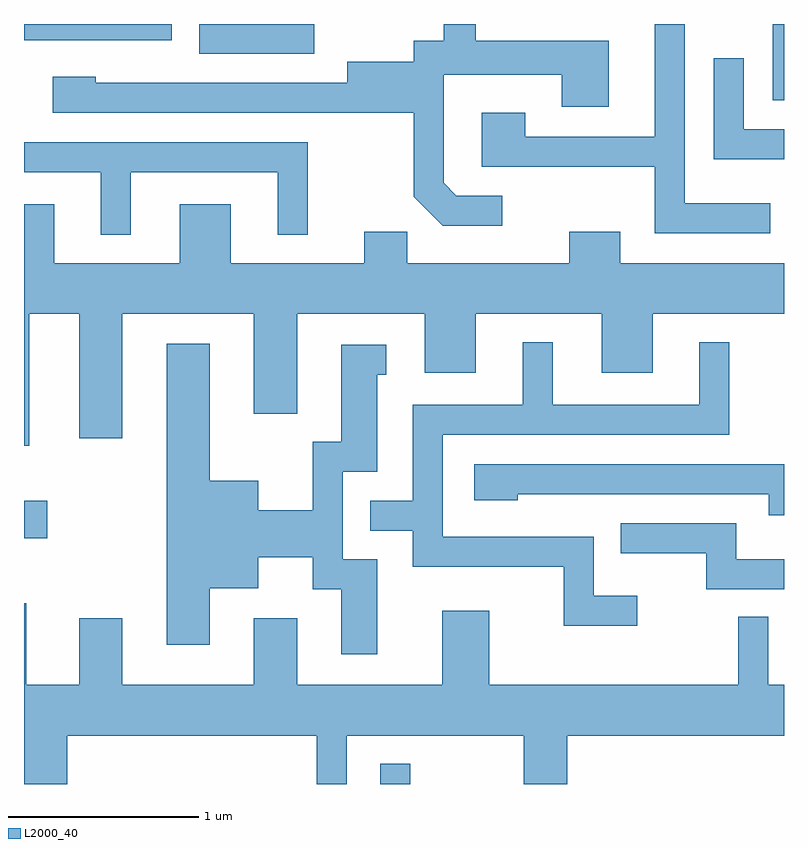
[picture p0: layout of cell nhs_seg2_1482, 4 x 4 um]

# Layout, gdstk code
import gdstk
lib = gdstk.Library(unit=1e-6, precision=1e-09)
def R(c, l, rs):  # rectangles x0, y0, x1, y1
    for r in rs: c.add(gdstk.rectangle(r[:2], r[2:], *l))
def P(c, l, *ps):  # polygons
    for p in ps: c.add(gdstk.Polygon(p, *l))
L2000_40 = (2000, 40)

nhs_seg2_1482 = lib.new_cell('nhs_seg2_1482')
R(nhs_seg2_1482, L2000_40, [(229.486,1085.802,229.644,1085.908), (227.611,1087.096,227.734,1087.294), (231.551,1089.401,231.611,1089.802), (228.533,1089.646,229.139,1089.802), (227.611,1089.716,228.389,1089.802)])
P(nhs_seg2_1482, L2000_40, [(231.538,1088.859),(231.089,1088.859),(231.089,1089.802),(230.931,1089.802),(230.931,1089.209),(230.249,1089.209),(230.249,1089.334),(230.021,1089.334),(230.021,1089.051),(230.931,1089.051),(230.931,1088.701),(231.538,1088.701)],
  [(230.128,1088.899),(229.887,1088.899),(229.819,1088.967),(229.819,1089.536),(230.441,1089.536),(230.441,1089.366),(230.689,1089.366),(230.689,1089.714),(229.989,1089.714),(229.989,1089.802),(229.821,1089.802),(229.821,1089.714),(229.661,1089.714),(229.661,1089.604),(229.311,1089.604),(229.311,1089.494),(227.989,1089.494),(227.989,1089.524),(227.761,1089.524),(227.761,1089.336),(229.661,1089.336),(229.661,1088.894),(229.814,1088.741),(230.128,1088.741)],
  [(231.611,1089.249),(231.399,1089.249),(231.399,1089.623),(231.241,1089.623),(231.241,1089.091),(231.611,1089.091)],
  [(228.174,1089.021),(228.946,1089.021),(228.946,1088.693),(229.104,1088.693),(229.104,1089.179),(227.611,1089.179),(227.611,1089.021),(228.016,1089.021),(228.016,1088.693),(228.174,1088.693)],
  [(228.699,1088.854),(228.431,1088.854),(228.431,1088.544),(227.769,1088.544),(227.769,1088.854),(227.611,1088.854),(227.611,1087.581),(227.639,1087.581),(227.639,1088.276),(227.901,1088.276),(227.901,1087.621),(228.129,1087.621),(228.129,1088.276),(228.821,1088.276),(228.821,1087.751),(229.049,1087.751),(229.049,1088.276),(229.721,1088.276),(229.721,1087.966),(229.989,1087.966),(229.989,1088.276),(230.651,1088.276),(230.651,1087.966),(230.919,1087.966),(230.919,1088.276),(231.611,1088.276),(231.611,1088.544),(230.749,1088.544),(230.749,1088.709),(230.481,1088.709),(230.481,1088.544),(229.629,1088.544),(229.629,1088.709),(229.401,1088.709),(229.401,1088.544),(228.699,1088.544)],
  [(230.838,1086.794),(230.609,1086.794),(230.609,1087.104),(229.814,1087.104),(229.814,1087.641),(231.324,1087.641),(231.324,1088.128),(231.166,1088.128),(231.166,1087.799),(230.394,1087.799),(230.394,1088.128),(230.236,1088.128),(230.236,1087.799),(229.656,1087.799),(229.656,1087.294),(229.433,1087.294),(229.433,1087.136),(229.656,1087.136),(229.656,1086.946),(230.451,1086.946),(230.451,1086.636),(230.838,1086.636)],
  [(229.469,1086.984),(229.289,1086.984),(229.289,1087.446),(229.469,1087.446),(229.469,1087.956),(229.518,1087.956),(229.518,1088.114),(229.281,1088.114),(229.281,1087.604),(229.131,1087.604),(229.131,1087.244),(228.844,1087.244),(228.844,1087.399),(228.589,1087.399),(228.589,1088.119),(228.361,1088.119),(228.361,1086.536),(228.589,1086.536),(228.589,1086.831),(228.844,1086.831),(228.844,1086.996),(229.131,1086.996),(229.131,1086.826),(229.281,1086.826),(229.281,1086.486),(229.469,1086.486)],
  [(231.611,1087.484),(229.981,1087.484),(229.981,1087.296),(230.209,1087.296),(230.209,1087.326),(231.531,1087.326),(231.531,1087.216),(231.611,1087.216)],
  [(231.611,1086.984),(231.359,1086.984),(231.359,1087.174),(230.753,1087.174),(230.753,1087.016),(231.201,1087.016),(231.201,1086.826),(231.611,1086.826)],
  [(227.839,1086.056),(229.151,1086.056),(229.151,1085.802),(229.309,1085.802),(229.309,1086.056),(230.241,1086.056),(230.241,1085.802),(230.469,1085.802),(230.469,1086.056),(231.611,1086.056),(231.611,1086.324),(231.529,1086.324),(231.529,1086.683),(231.371,1086.683),(231.371,1086.324),(230.059,1086.324),(230.059,1086.714),(229.811,1086.714),(229.811,1086.324),(229.049,1086.324),(229.049,1086.674),(228.821,1086.674),(228.821,1086.324),(228.129,1086.324),(228.129,1086.674),(227.901,1086.674),(227.901,1086.324),(227.624,1086.324),(227.624,1086.753),(227.611,1086.753),(227.611,1085.802),(227.839,1085.802)])

lib.write_gds('nhs_seg2_1482.gds')
